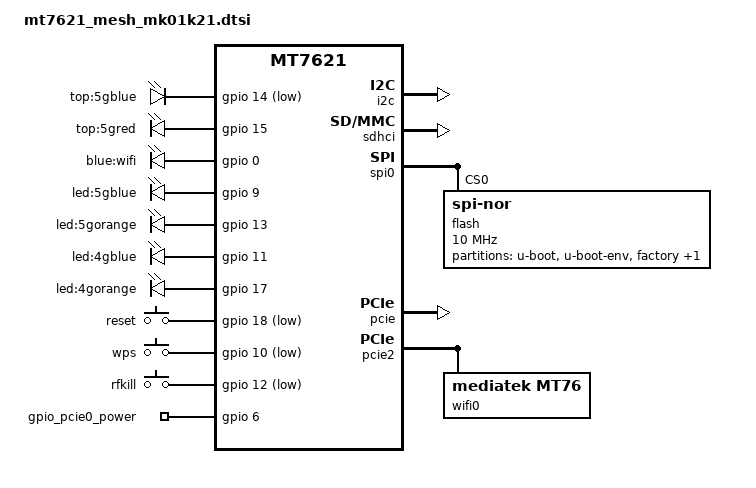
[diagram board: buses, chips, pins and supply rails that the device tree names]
// SPDX-License-Identifier: BSD-3-Clause
/*
 *  Copyright(c) 2017 Kristian Evensen <kristian.evensen@gmail.com>.
 *  Copyright(c) 2017 Piotr Dymacz <pepe2k@gmail.com>.
 *  All rights reserved.
 */

#include "mt7621.dtsi"

#include <dt-bindings/gpio/gpio.h>
#include <dt-bindings/input/input.h>

/ {
	compatible = "mesh,mk01k21", "mediatek,mt7621-soc";

	aliases {
		led-boot = &led_status;
		led-failsafe = &led_status;
		led-running = &led_status;
		led-upgrade = &led_red;
	};

	chosen {
		bootargs = "console=ttyS0,115200";
	};

	leds {
		compatible = "gpio-leds";

		led_status: status {
			label = "top:5gblue";
			gpios = <&gpio 14 GPIO_ACTIVE_LOW>;
		};

		led_red: 5gred {
			label = "top:5gred";
			gpios = <&gpio 15 GPIO_ACTIVE_HIGH>;
		};

		wifi {
			label = "blue:wifi";
			gpios = <&gpio 0 GPIO_ACTIVE_HIGH>;
		};

		5gblue {
			label = "led:5gblue";
			gpios = <&gpio 9 GPIO_ACTIVE_HIGH>;
		};

		5gorange {
			label = "led:5gorange";
			gpios = <&gpio 13 GPIO_ACTIVE_HIGH>;
		};

		4gblue {
			label = "led:4gblue";
			gpios = <&gpio 11 GPIO_ACTIVE_HIGH>;
		};

		4gorange {
			label = "led:4gorange";
			gpios = <&gpio 17 GPIO_ACTIVE_HIGH>;
		};
	};

	keys {
		compatible = "gpio-keys";

		reset {
			label = "reset";
			gpios = <&gpio 18 GPIO_ACTIVE_LOW>;
			linux,code = <KEY_RESTART>;
		};

		wps {
			label = "wps";
			gpios = <&gpio 10 GPIO_ACTIVE_LOW>;
			linux,code = <BTN_1>;
		};

		rfkill {
			label = "rfkill";
			gpios = <&gpio 12 GPIO_ACTIVE_LOW>;
			linux,code = <BTN_0>;
		};
	};

	gpio-export {
		compatible = "gpio-export";
 
		gpio_pcie0_power {
			gpio-export,output = <0>;
			gpios = <&gpio 6 GPIO_ACTIVE_HIGH>;
		};
	};

};

&i2c {
	status = "okay";
};

&sdhci {
	status = "okay";
};

&spi0 {
	status = "okay";

	flash@0 {
		compatible = "jedec,spi-nor";
		reg = <0>;
		spi-max-frequency = <10000000>;

		partitions {
			compatible = "fixed-partitions";
			#address-cells = <1>;
			#size-cells = <1>;

			partition@0 {
				label = "u-boot";
				reg = <0x0 0x30000>;
				read-only;
			};

			partition@30000 {
				label = "u-boot-env";
				reg = <0x30000 0x10000>;
				read-only;
			};

			factory: partition@40000 {
				label = "factory";
				reg = <0x40000 0x10000>;
				read-only;
			};

			firmware: partition@50000 {
				compatible = "denx,uimage";
				label = "firmware";
			};
		};
	};
};

&pcie {
	status = "okay";
};

&pcie2 {
	wifi0: wifi@0,0 {
		compatible = "mediatek,mt76";
		mtd-mac-address = <&factory 0x0c00>;
	};
};

&gmac0 {
	mtd-mac-address = <&factory 0x0c00>;
};

&switch0 {
	ports {
		port@0 {
			status = "okay";
			label = "wan";
			mtd-mac-address = <&factory 0x0c00>;
			mtd-mac-address-increment = <1>;
		};

		port@2 {
			status = "okay";
			label = "lan1";
		};

		port@1 {
			status = "okay";
			label = "lan2";
		};
	};
};

&state_default {
	gpio {
		groups = "wdt", "rgmii2", "jtag", "uart3";
		function = "gpio";
	};
};
